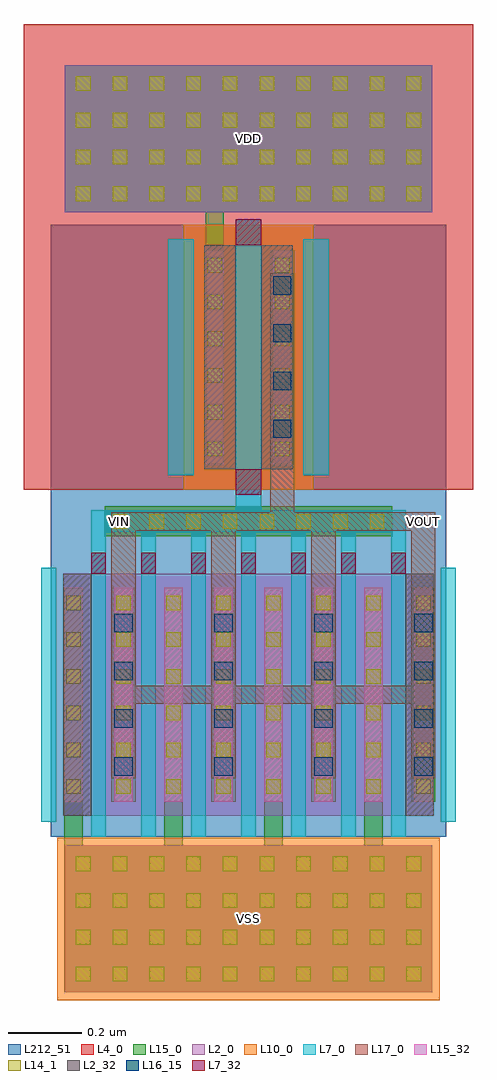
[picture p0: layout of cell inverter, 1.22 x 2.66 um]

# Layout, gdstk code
import gdstk
lib = gdstk.Library(unit=1e-6, precision=1e-09)
def R(c, l, rs):  # rectangles x0, y0, x1, y1
    for r in rs: c.add(gdstk.rectangle(r[:2], r[2:], *l))
def A(c, l, x, y, w, h, nx, ny, dx, dy):  # array of equal rectangles
    R(c, l, [(x+i*dx, y+j*dy, x+i*dx+w, y+j*dy+h) for i in range(nx) for j in range(ny)])
L2_0 = (2, 0)
L2_32 = (2, 32)
L4_0 = (4, 0)
L7_0 = (7, 0)
L7_32 = (7, 32)
L10_0 = (10, 0)
L14_1 = (14, 1)
L15_0 = (15, 0)
L15_32 = (15, 32)
L16_15 = (16, 15)
L17_0 = (17, 0)
L212_51 = (212, 51)

nmosininverter = lib.new_cell('nmosIninverter')
R(nmosininverter, L2_0, [(-0.504,-0.33,0.504,0.33)])
R(nmosininverter, L2_32, [(-0.504,-0.33,-0.428,0.33), (0.428,-0.33,0.504,0.33)])
A(nmosininverter, L7_0, -0.428, -0.387, 0.04, 0.774, 7, 1, 0.136, 0)
R(nmosininverter, L7_0, [(-0.564,-0.346,-0.524,0.346), (0.524,-0.346,0.564,0.346)])
A(nmosininverter, L7_32, -0.428, 0.33, 0.04, 0.057, 7, 1, 0.136, 0)
A(nmosininverter, L14_1, -0.496, -0.27, 0.04, 0.04, 8, 6, 0.136, 0.1)
A(nmosininverter, L15_0, -0.501, -0.291, 0.05, 0.582, 8, 1, 0.136, 0)
A(nmosininverter, L15_32, -0.501, -0.291, 0.05, 0.582, 8, 1, 0.136, 0)
R(nmosininverter, L212_51, [(-0.539,-0.386,0.539,0.386)])

pmosininverter = lib.new_cell('pmosIninverter')
R(pmosininverter, L2_0, [(-0.12,-0.305,0.12,0.305)])
R(pmosininverter, L2_32, [(-0.12,-0.305,-0.035,0.305), (0.035,-0.305,0.12,0.305)])
R(pmosininverter, L7_0, [(-0.035,-0.375,0.035,0.375), (-0.219,-0.321,-0.149,0.321), (0.149,-0.321,0.219,0.321)])
R(pmosininverter, L7_32, [(-0.035,-0.375,0.035,-0.305), (-0.035,0.305,0.035,0.375)])
R(pmosininverter, L10_0, [(-0.176,-0.361,0.176,0.361)])
A(pmosininverter, L14_1, -0.112, -0.27, 0.04, 0.04, 1, 6, 0, 0.1)
A(pmosininverter, L14_1, 0.072, -0.27, 0.04, 0.04, 1, 6, 0, 0.1)
R(pmosininverter, L15_0, [(-0.117,-0.291,-0.067,0.291), (0.067,-0.291,0.117,0.291)])
R(pmosininverter, L15_32, [(-0.117,-0.291,-0.067,0.291), (0.067,-0.291,0.117,0.291)])
R(pmosininverter, L212_51, [(-0.155,-0.361,0.155,0.361)])

vdd_supplyininverter = lib.new_cell('vdd_supplyIninverter')
R(vdd_supplyininverter, L2_0, [(-0.5,-0.2,0.5,0.2)])
A(vdd_supplyininverter, L14_1, -0.47, -0.17, 0.04, 0.04, 10, 4, 0.1, 0.1)
R(vdd_supplyininverter, L15_0, [(-0.5,-0.2,0.5,0.2)])

vss_supplyininverter = lib.new_cell('vss_supplyIninverter')
R(vss_supplyininverter, L2_0, [(-0.5,-0.2,0.5,0.2)])
R(vss_supplyininverter, L10_0, [(-0.521,-0.221,0.521,0.221)])
A(vss_supplyininverter, L14_1, -0.47, -0.17, 0.04, 0.04, 10, 4, 0.1, 0.1)
R(vss_supplyininverter, L15_0, [(-0.5,-0.2,0.5,0.2)])

gate_contactsininverter = lib.new_cell('gate_contactsIninverter')
R(gate_contactsininverter, L7_0, [(-0.38,-0.03,0.38,0.03)])
A(gate_contactsininverter, L14_1, -0.37, -0.02, 0.04, 0.04, 8, 1, 0.1, 0)
R(gate_contactsininverter, L15_0, [(-0.391,-0.041,0.391,0.041)])

nmos_viasininverter = lib.new_cell('nmos_viasIninverter')
R(nmos_viasininverter, L15_0, [(-0.033,-0.228,0.033,0.228)])
A(nmos_viasininverter, L16_15, -0.025, -0.22, 0.05, 0.05, 1, 4, 0, 0.13)
R(nmos_viasininverter, L17_0, [(-0.033,-0.228,0.033,0.228)])

pmos_viasininverter = lib.new_cell('pmos_viasIninverter')
R(pmos_viasininverter, L15_0, [(-0.033,-0.228,0.033,0.228)])
A(pmos_viasininverter, L16_15, -0.025, -0.22, 0.05, 0.05, 1, 4, 0, 0.13)
R(pmos_viasininverter, L17_0, [(-0.033,-0.228,0.033,0.228)])

inverter = lib.new_cell('inverter')
R(inverter, L4_0, [(-0.612,0.999,0.612,2.267), (-0.612,1.735,0.612,1.867)])
R(inverter, L7_0, [(-0.428,0.883,0.428,0.943)])
R(inverter, L10_0, [(-0.091,-0.39,0.091,0.052)])
A(inverter, L15_0, -0.373, 0.15, 0.066, 0.582, 4, 1, 0.272, 0)
R(inverter, L15_0, [(0.059,1.069,0.125,1.651)])
R(inverter, L17_0, [(-0.373,0.888,0.509,0.938)])
R(inverter, L212_51, [(-0.539,0.055,0.539,1.721)])
inverter.add(gdstk.FlexPath([(-0.476,0.441),(-0.476,-0.369)], 0.05, ends="flush", simple_path=True, layer=15, datatype=0))  # L15_0
inverter.add(gdstk.FlexPath([(-0.204,0.441),(-0.204,-0.369)], 0.05, ends="flush", simple_path=True, layer=15, datatype=0))  # L15_0
inverter.add(gdstk.FlexPath([(0.068,0.441),(0.068,-0.369)], 0.05, ends="flush", simple_path=True, layer=15, datatype=0))  # L15_0
inverter.add(gdstk.FlexPath([(0.34,0.441),(0.34,-0.369)], 0.05, ends="flush", simple_path=True, layer=15, datatype=0))  # L15_0
inverter.add(gdstk.FlexPath([(-0.092,1.36),(-0.092,2.155)], 0.05, ends="flush", simple_path=True, layer=15, datatype=0))  # L15_0
inverter.add(gdstk.FlexPath([(-0.34,0.441),(0.476,0.441)], 0.05, ends="flush", simple_path=True, layer=17, datatype=0))  # L17_0
inverter.add(gdstk.FlexPath([(0,1.36),(0,0.913)], 0.07, ends="flush", simple_path=True, layer=7, datatype=0))  # L7_0
inverter.add(gdstk.FlexPath([(-0.408,0.441),(-0.408,0.913)], 0.04, ends="flush", simple_path=True, layer=7, datatype=0))  # L7_0
inverter.add(gdstk.FlexPath([(-0.272,0.441),(-0.272,0.913)], 0.04, ends="flush", simple_path=True, layer=7, datatype=0))  # L7_0
inverter.add(gdstk.FlexPath([(-0.136,0.441),(-0.136,0.913)], 0.04, ends="flush", simple_path=True, layer=7, datatype=0))  # L7_0
inverter.add(gdstk.FlexPath([(0,0.441),(0,0.913)], 0.04, ends="flush", simple_path=True, layer=7, datatype=0))  # L7_0
inverter.add(gdstk.FlexPath([(0.136,0.441),(0.136,0.913)], 0.04, ends="flush", simple_path=True, layer=7, datatype=0))  # L7_0
inverter.add(gdstk.FlexPath([(0.272,0.441),(0.272,0.913)], 0.04, ends="flush", simple_path=True, layer=7, datatype=0))  # L7_0
inverter.add(gdstk.FlexPath([(0.408,0.441),(0.408,0.913)], 0.04, ends="flush", simple_path=True, layer=7, datatype=0))  # L7_0
inverter.add(gdstk.FlexPath([(0.092,1.36),(0.092,0.913)], 0.066, ends="flush", simple_path=True, layer=17, datatype=0))  # L17_0
inverter.add(gdstk.FlexPath([(-0.34,0.441),(-0.34,0.913)], 0.066, ends="flush", simple_path=True, layer=17, datatype=0))  # L17_0
inverter.add(gdstk.FlexPath([(-0.068,0.441),(-0.068,0.913)], 0.066, ends="flush", simple_path=True, layer=17, datatype=0))  # L17_0
inverter.add(gdstk.FlexPath([(0.204,0.441),(0.204,0.913)], 0.066, ends="flush", simple_path=True, layer=17, datatype=0))  # L17_0
inverter.add(gdstk.FlexPath([(0.476,0.441),(0.476,0.913)], 0.066, ends="flush", simple_path=True, layer=17, datatype=0))  # L17_0
inverter.add(gdstk.Reference(nmosininverter, (0,0.441)))
inverter.add(gdstk.Reference(pmosininverter, (0,1.36)))
inverter.add(gdstk.Reference(vdd_supplyininverter, (0,1.955)))
inverter.add(gdstk.Reference(vss_supplyininverter, (0,-0.169)))
inverter.add(gdstk.Reference(gate_contactsininverter, (0,0.913)))
inverter.add(gdstk.Reference(nmos_viasininverter, (-0.34,0.441)))
inverter.add(gdstk.Reference(nmos_viasininverter, (-0.068,0.441)))
inverter.add(gdstk.Reference(nmos_viasininverter, (0.204,0.441)))
inverter.add(gdstk.Reference(nmos_viasininverter, (0.476,0.441)))
inverter.add(gdstk.Reference(pmos_viasininverter, (0.092,1.36)))
inverter.add(gdstk.Label('VOUT', (0.476,0.913), layer=17, texttype=20))
inverter.add(gdstk.Label('VSS', (0,-0.169), layer=15, texttype=20))
inverter.add(gdstk.Label('VDD', (0,1.955), layer=15, texttype=20))
inverter.add(gdstk.Label('VIN', (-0.35,0.913), layer=15, texttype=20))

lib.write_gds('inverter.gds')
